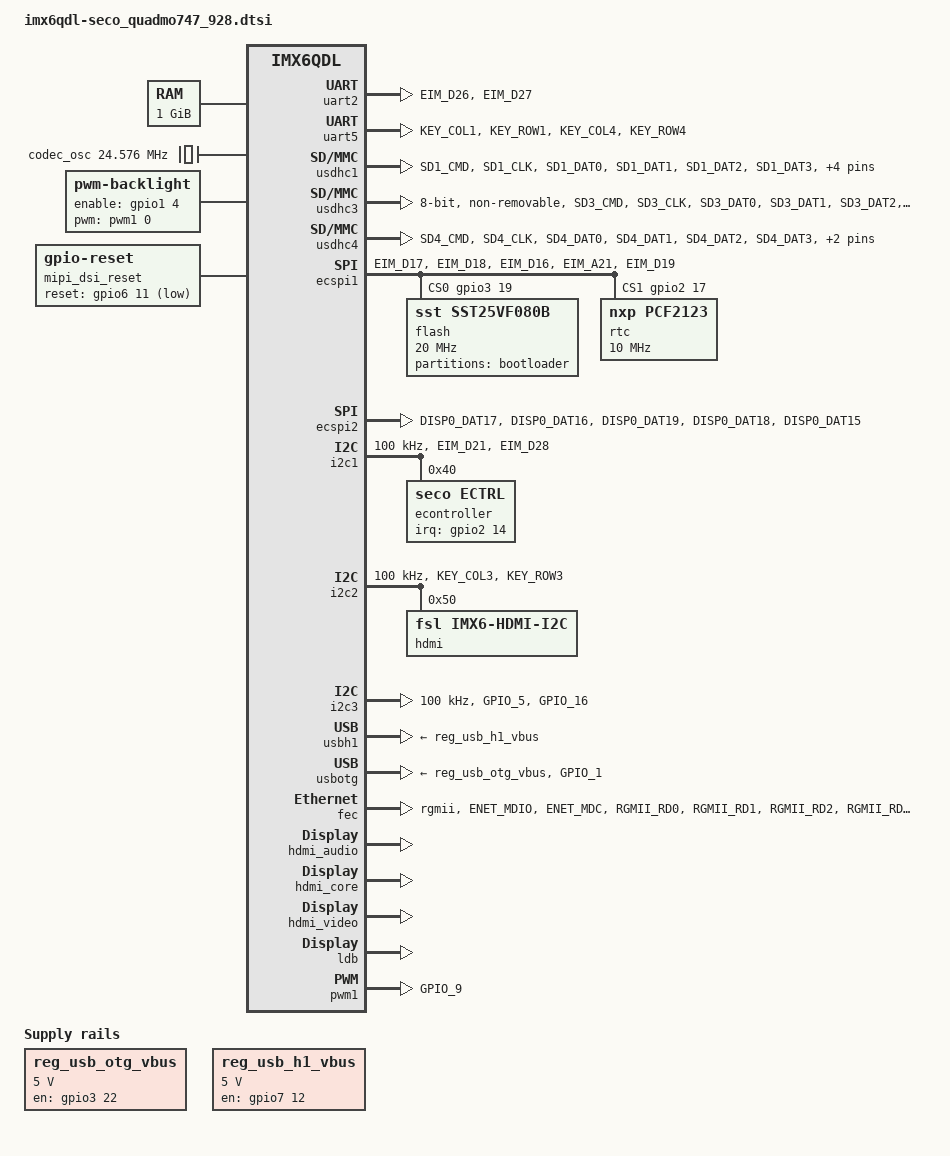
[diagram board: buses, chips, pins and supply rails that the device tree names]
/*
 * Copyright 2012 Freescale Semiconductor, Inc.
 * Copyright 2011 Linaro Ltd.
 *
 * The code contained herein is licensed under the GNU General Public
 * License. You may obtain a copy of the GNU General Public License
 * Version 2 or later at the following locations:
 *
 * http://www.opensource.org/licenses/gpl-license.html
 * http://www.gnu.org/copyleft/gpl.html
 */

#include <dt-bindings/input/input.h>
#include <dt-bindings/seco/ectrl.h>

/ {
	aliases {
		mxcfb0 = &mxcfb1;
		mxcfb1 = &mxcfb2;
		mxcfb2 = &mxcfb3;
		mxcfb3 = &mxcfb4;
	};

	memory {
		reg = <0x10000000 0x40000000>;
	};

	dynamic_choice: dynamic_choice {};

	serial_switch: serial_switch {
		selector = <&gpio3 20 0>;
	};

	clocks {
		codec_osc: anaclk2 {
			compatible = "fixed-clock";
			#clock-cells = <0>;
			clock-frequency = <24576000>;
		};
	};

	regulators {
		compatible = "simple-bus";
		#address-cells = <1>;
		#size-cells = <0>;

		reg_usb_otg_vbus: regulator@0 {
			compatible = "regulator-fixed";
			reg = <0>;
			regulator-name = "usb_otg_vbus";
			regulator-min-microvolt = <5000000>;
			regulator-max-microvolt = <5000000>;
			gpio = <&gpio3 22 0>;
			enable-active-high;
		};

		reg_usb_h1_vbus: regulator@1 {
			compatible = "regulator-fixed";
			reg = <1>;
			regulator-name = "usb_h1_vbus";
			regulator-min-microvolt = <5000000>;
			regulator-max-microvolt = <5000000>;
			gpio = <&gpio7 12 0>;
			enable-active-high;
		};

		reg_2p5v_sgtl5000: regulator@2 {
			compatible = "regulator-fixed";
			reg = <2>;
			regulator-name = "2P5V_sgtl5000";
			regulator-min-microvolt = <2500000>;
			regulator-max-microvolt = <2500000>;
			regulator-always-on;
			status = "disabled";
		};

		reg_3p3v_sgtl5000: regulator@3 {
			compatible = "regulator-fixed";
			reg = <3>;
			regulator-name = "3P3V_sgtl5000";
			regulator-min-microvolt = <3300000>;
			regulator-max-microvolt = <3300000>;
			regulator-always-on;
			status = "disabled";
		};

	};



/*  __________________________________________________________________________
 * |____________________________ AUDIO VT1613 ________________________________|
 */
    codec_vt1613: codec_vt1613 {
		compatible = "via,vt1613";
		status = "disabled";
	};

	sound_vt1613: sound_vt1613 {
		compatible = "fsl,imx-vt1613-audio";
		model = "fsl,imx-vt1613-audio";
		ssi-controller = <&ssi1>;
		audio-codec = <&codec_vt1613>;
		mux-int-port = <1>;
		mux-ext-port = <6>;
		status = "disabled";
	};

	ssi_vt1613: ssi_vt1613 {
		fsl,mode = "ac97-slave";
		pinctrl-names = "default", "ac97-running", "ac97-reset", "ac97-warm-reset";
		pinctrl-0 = <&ac97link_running>;
		pinctrl-1 = <&ac97link_running>;
		pinctrl-2 = <&ac97link_reset>;
		pinctrl-3 = <&ac97link_warm_reset>;
		/* sync, sdata (output), reset */
		ac97-gpios = <&gpio4 19 0 &gpio4 18 0 &gpio4 23 0>;
	};


/*  __________________________________________________________________________
 * |___________________________ AUDIO SGTL5000 _______________________________|
 */
	sound_sgtl5000: sound_sgtl5000 {
		compatible = "fsl,imx6q-seco-sgtl5000",
					"fsl,imx-audio-sgtl5000";
		model = "fsl,imx6q-seco-sgtl5000";
		cpu-dai = <&ssi1>;
		audio-codec = <&codec_sgtl5000>;
		audio-routing =
			"MIC_IN", "Mic Jack",
			"Mic Jack", "Mic Bias",
			"Headphone Jack", "HP_OUT";
		mux-int-port = <1>;
		mux-ext-port = <6>;
		status = "disabled";
	};

	ssi_sgtl5000: ssi_sgtl5000 {
		fsl,mode = "i2s-slave";
	};

	audmux_sgtl5000: audmux_sgtl5000 {
		pinctrl-names = "default";
		pinctrl-0 = <&pinctrl_audmux>;
	};
/*  __________________________________________________________________________
 * |__________________________________________________________________________|
 */

	sound-hdmi {
		compatible = "fsl,imx6q-audio-hdmi",
			     "fsl,imx-audio-hdmi";
		model = "imx-audio-hdmi";
		hdmi-controller = <&hdmi_audio>;
	};

/*  __________________________________________________________________________
 * |____________________________ FRAME BUFFER ________________________________|
 */
	mxcfb1: fb@0 {
		compatible = "fsl,mxc_sdc_fb";
		disp_dev = "ldb";
		interface_pix_fmt = "RGB666";
		mode_str = "LDB-WVGA";
		default_bpp = <16>;
		int_clk = <0>;
		late_init = <0>;
		status = "disabled";
	};

	mxcfb2: fb@1 {
		compatible = "fsl,mxc_sdc_fb";
		disp_dev = "hdmi";
		interface_pix_fmt = "RGB24";
		mode_str ="1920x1080M@60";
		default_bpp = <24>;
		int_clk = <0>;
		late_init = <0>;
		status = "disabled";
	};

	mxcfb3: fb@2 {
		compatible = "fsl,mxc_sdc_fb";
		disp_dev = "lcd";
		interface_pix_fmt = "RGB565";
		mode_str ="CLAA-WVGA";
		default_bpp = <16>;
		int_clk = <0>;
		late_init = <0>;
		status = "disabled";
	};

	mxcfb4: fb@3 {
		compatible = "fsl,mxc_sdc_fb";
		disp_dev = "ldb";
		interface_pix_fmt = "RGB666";
		default_bpp = <16>;
		int_clk = <0>;
		late_init = <0>;
		status = "disabled";
	};

#include <dt-bindings/pwm/pwm.h>
	backlight {
		compatible = "pwm-backlight";
		pwms = <&pwm1 0 5000000>;
		brightness-levels = <0 4 8 16 32 64 128 255>;
		default-brightness-level = <7>;
		enable-gpios = <&gpio1 4 0>; 
		status = "okay";
	};

	v4l2_cap_0 {
		compatible = "fsl,imx6q-v4l2-capture";
		ipu_id = <0>;
		csi_id = <0>;
		mclk_source = <0>;
		status = "okay";
	};

	v4l2_cap_1 {
		compatible = "fsl,imx6q-v4l2-capture";
		ipu_id = <0>;
		csi_id = <1>;
		mclk_source = <0>;
		status = "okay";
	};

	v4l2_out {
		compatible = "fsl,mxc_v4l2_output";
		status = "okay";
	};

	mipi_dsi_reset: mipi-dsi-reset {
		compatible = "gpio-reset";
		reset-gpios = <&gpio6 11 GPIO_ACTIVE_LOW>;
		reset-delay-us = <50>;
		#reset-cells = <0>;
	};
};

&clks {
	assigned-clocks = <&clks IMX6QDL_PLL4_BYPASS_SRC>,
			  <&clks IMX6QDL_PLL4_BYPASS>,
			  <&clks IMX6QDL_CLK_PLL4_POST_DIV>;
	assigned-clock-parents = <&clks IMX6QDL_CLK_LVDS2_IN>,
				<&clks IMX6QDL_PLL4_BYPASS_SRC>;
	assigned-clock-rates = <0>, <0>, <24576000>;
};



/*  __________________________________________________________________________
 * |                                                                          |
 * |                                    IOMUX                                 |
 * |__________________________________________________________________________|
 */
&iomuxc {
	pinctrl-names = "default";
	pinctrl-0 = <&pinctrl_hog>;

	imx6qdl-quadmo747_928 {

		pinctrl_hog: hoggrp {
			fsl,pins = <
				/*  LVDS  */
				MX6QDL_PAD_GPIO_4__GPIO1_IO04           0x1f071
				MX6QDL_PAD_GPIO_2__GPIO1_IO02           0x1f071
				/*  USB  */
				MX6QDL_PAD_EIM_D22__GPIO3_IO22          0x1f071
				MX6QDL_PAD_GPIO_17__GPIO7_IO12          0x1f071
				/*  ECTRL INTERRUPT  */
				MX6QDL_PAD_SD4_DAT6__GPIO2_IO14         0x1f071
				/*  CAN SELECTOR  */
				MX6QDL_PAD_EIM_D20__GPIO3_IO20          0x1f071

			>;
		};


/*  __________________________________________________________________________
 * |________________________________ UART ____________________________________|
 */
		pinctrl_uart2: uart2grp {
			fsl,pins = <
				MX6QDL_PAD_EIM_D26__UART2_TX_DATA            0x1b0b1
				MX6QDL_PAD_EIM_D27__UART2_RX_DATA            0x1b0b1
			>;
		};

		pinctrl_uart4: uart4grp {
			fsl,pins = <
				MX6QDL_PAD_KEY_COL0__UART4_TX_DATA           0x1b0b1
				MX6QDL_PAD_KEY_ROW0__UART4_RX_DATA           0x1b0b1
			>;
		};

		pinctrl_uart5: uart5grp {
			fsl,pins = <
				MX6QDL_PAD_KEY_COL1__UART5_TX_DATA           0x1b0b1
				MX6QDL_PAD_KEY_ROW1__UART5_RX_DATA           0x1b0b1
				MX6QDL_PAD_KEY_COL4__UART5_RTS_B             0x1b0b1
				MX6QDL_PAD_KEY_ROW4__UART5_CTS_B             0x1b0b1

			>;
		};

/*  __________________________________________________________________________
 * |_________________________________ CAN ____________________________________|
 */
		pinctrl_flexcan1: flexcan1grp {
			fsl,pins = <
				MX6QDL_PAD_KEY_ROW2__FLEXCAN1_RX             0x80000000
				MX6QDL_PAD_KEY_COL2__FLEXCAN1_TX             0x80000000
			>;
		};

/*  __________________________________________________________________________
 * |_________________________________ I2C ____________________________________|
 */
		pinctrl_i2c1: i2c1grp {
			fsl,pins = <
				MX6QDL_PAD_EIM_D21__I2C1_SCL                 0x4001b8b1
				MX6QDL_PAD_EIM_D28__I2C1_SDA                 0x4001b8b1
			>;
		};

		pinctrl_i2c2: i2c2grp {
			fsl,pins = <
				MX6QDL_PAD_KEY_COL3__I2C2_SCL                0x4001b8b1
				MX6QDL_PAD_KEY_ROW3__I2C2_SDA                0x4001b8b1
			 >;
		};

		pinctrl_i2c3: i2c3grp {
			fsl,pins = <
				MX6QDL_PAD_GPIO_5__I2C3_SCL                  0x4001b8b1
				MX6QDL_PAD_GPIO_16__I2C3_SDA                 0x4001b8b1
			>;
		};
/*  __________________________________________________________________________
 * |_________________________________ SPI ____________________________________|
 */
		pinctrl_ecspi1: ecspi1grp {
			fsl,pins = <
				MX6QDL_PAD_EIM_D17__ECSPI1_MISO              0x100b1
				MX6QDL_PAD_EIM_D18__ECSPI1_MOSI              0x100b1
				MX6QDL_PAD_EIM_D16__ECSPI1_SCLK              0x100b1
				/*  CS SPI 1  */
				MX6QDL_PAD_EIM_A21__GPIO2_IO17               0x80000000
				MX6QDL_PAD_EIM_D19__GPIO3_IO19               0x80000000

			>;
		};

		pinctrl_ecspi2: ecspi2grp {
			fsl,pins = <
				MX6QDL_PAD_DISP0_DAT17__ECSPI2_MISO          0x100b1
				MX6QDL_PAD_DISP0_DAT16__ECSPI2_MOSI          0x100b1
				MX6QDL_PAD_DISP0_DAT19__ECSPI2_SCLK          0x100b1
				/*  CS SPI 2  */
				MX6QDL_PAD_DISP0_DAT18__GPIO5_IO12           0x80000000
				MX6QDL_PAD_DISP0_DAT15__GPIO5_IO09           0x80000000

			>;
		};


/*  __________________________________________________________________________
 * |________________________________ USDHC ___________________________________|
 */
		pinctrl_usdhc1: usdhc1grp {
			fsl,pins = <
				MX6QDL_PAD_SD1_CMD__SD1_CMD                  0x17059
				MX6QDL_PAD_SD1_CLK__SD1_CLK                  0x10059
				MX6QDL_PAD_SD1_DAT0__SD1_DATA0               0x17059
				MX6QDL_PAD_SD1_DAT1__SD1_DATA1               0x17059
				MX6QDL_PAD_SD1_DAT2__SD1_DATA2               0x17059
				MX6QDL_PAD_SD1_DAT3__SD1_DATA3               0x17059
				MX6QDL_PAD_NANDF_CS2__GPIO6_IO15             0x17059
				MX6QDL_PAD_CSI0_DATA_EN__GPIO5_IO20          0x17059
			>;
		};

		pinctrl_usdhc3: usdhc3grp {
			fsl,pins = <
				MX6QDL_PAD_SD3_CMD__SD3_CMD                  0x17059
				MX6QDL_PAD_SD3_CLK__SD3_CLK                  0x10059
				MX6QDL_PAD_SD3_DAT0__SD3_DATA0               0x17059
				MX6QDL_PAD_SD3_DAT1__SD3_DATA1               0x17059
				MX6QDL_PAD_SD3_DAT2__SD3_DATA2               0x17059
				MX6QDL_PAD_SD3_DAT3__SD3_DATA3               0x17059
				MX6QDL_PAD_SD3_DAT4__SD3_DATA4               0x17059
				MX6QDL_PAD_SD3_DAT5__SD3_DATA5               0x17059
				MX6QDL_PAD_SD3_DAT6__SD3_DATA6               0x17059
				MX6QDL_PAD_SD3_DAT7__SD3_DATA7               0x17059
				MX6QDL_PAD_NANDF_D6__GPIO2_IO06              0x1f071
				MX6QDL_PAD_NANDF_D7__GPIO2_IO07              0x1f071
			>;
		};

		pinctrl_usdhc4: usdhc4grp {
			fsl,pins = <
				MX6QDL_PAD_SD4_CMD__SD4_CMD                  0x17059
				MX6QDL_PAD_SD4_CLK__SD4_CLK                  0x10059
				MX6QDL_PAD_SD4_DAT0__SD4_DATA0               0x17059
				MX6QDL_PAD_SD4_DAT1__SD4_DATA1               0x17059
				MX6QDL_PAD_SD4_DAT2__SD4_DATA2               0x17059
				MX6QDL_PAD_SD4_DAT3__SD4_DATA3               0x17059
			>;
		};


/*  __________________________________________________________________________
 * |______________________________ ETHERNET __________________________________|
 */
		pinctrl_enet: enetgrp {
			fsl,pins = <
				MX6QDL_PAD_ENET_MDIO__ENET_MDIO              0x1b0b0
				MX6QDL_PAD_ENET_MDC__ENET_MDC                0x1b0b0
				MX6QDL_PAD_RGMII_RD0__RGMII_RD0              0x1b0b0
				MX6QDL_PAD_RGMII_RD1__RGMII_RD1              0x1b0b0
				MX6QDL_PAD_RGMII_RD2__RGMII_RD2              0x1b0b0
				MX6QDL_PAD_RGMII_RD3__RGMII_RD3              0x1b0b0
				MX6QDL_PAD_RGMII_RX_CTL__RGMII_RX_CTL        0x1b0b0
				MX6QDL_PAD_RGMII_TD0__RGMII_TD0              0x1b0b0
				MX6QDL_PAD_RGMII_TD1__RGMII_TD1              0x1b0b0
				MX6QDL_PAD_RGMII_TD2__RGMII_TD2              0x1b0b0
				MX6QDL_PAD_RGMII_TD3__RGMII_TD3              0x1b0b0
				MX6QDL_PAD_RGMII_TX_CTL__RGMII_TX_CTL        0x1b0b0
				MX6QDL_PAD_RGMII_RXC__RGMII_RXC              0x1b0b0
				MX6QDL_PAD_RGMII_TXC__RGMII_TXC              0x1b0b0
				MX6QDL_PAD_ENET_REF_CLK__ENET_TX_CLK         0x1b0b0

				/*  Phy Interrupt  */
				MX6QDL_PAD_ENET_TX_EN__GPIO1_IO28            0x1f071
				/*  ENET RESET */
				MX6QDL_PAD_EIM_D23__GPIO3_IO23               0x1f071
			>;
		};


		pinctrl_pwm1: pwm1grp {
			fsl,pins = <
				MX6QDL_PAD_GPIO_9__PWM1_OUT                  0x1b0b1
			>;
		};

		pinctrl_usbotg: usbotggrp {
			fsl,pins = <
				MX6QDL_PAD_GPIO_1__USB_OTG_ID                0x17059
			>;
		};


/*  __________________________________________________________________________
 * |_____________________________ AUDIO AC97 _________________________________|
 */
		ac97link_running: ac97link_runninggrp {
			fsl,pins = <
				MX6QDL_PAD_DI0_PIN2__AUD6_TXD                0x130b0
				MX6QDL_PAD_DI0_PIN3__AUD6_TXFS               0x130b0
				MX6QDL_PAD_DI0_PIN4__AUD6_RXD                0x130b0
				MX6QDL_PAD_DI0_PIN15__AUD6_TXC               0x130b0
			>;
		};

		ac97link_reset: ac97link_resetgrp {
			fsl,pins = <
				/*  AUD_SYNC  */
				MX6QDL_PAD_DI0_PIN3__GPIO4_IO19              0x1f071
				/*  AUD_SDO  */
				MX6QDL_PAD_DI0_PIN2__GPIO4_IO18              0x1f071
				/*  RESET  */
				MX6QDL_PAD_DISP0_DAT2__GPIO4_IO23            0x1f071
			>;
		};

		ac97link_warm_reset: ac97link_warm_resetgrp {
			fsl,pins = <
				MX6QDL_PAD_DI0_PIN3__GPIO4_IO19              0x80000000
			>;
		};

		pinctrl_audmux: audmuxgrp {
			fsl,pins = <
				MX6QDL_PAD_DI0_PIN2__AUD6_TXD                0x130b0
				MX6QDL_PAD_DI0_PIN3__AUD6_TXFS               0x130b0
				MX6QDL_PAD_DI0_PIN4__AUD6_RXD                0x130b0
				MX6QDL_PAD_DI0_PIN15__AUD6_TXC               0x130b0
				MX6QDL_PAD_DISP0_DAT2__GPIO4_IO23            0x1f071
			>;
		};

	};
};

/*  __________________________________________________________________________
 * |__________________________________________________________________________|
 */




/*  __________________________________________________________________________
 * |                                                                          |
 * |                                    UART                                  |
 * |__________________________________________________________________________|
 */
&uart2 {
	pinctrl-names = "default";
	pinctrl-0 = <&pinctrl_uart2>;
	status = "okay";
};


&uart4 {
	pinctrl-names = "default";
	pinctrl-0 = <&pinctrl_uart4>;
	status = "disable";
};


&uart5 {
	pinctrl-names = "default";
	pinctrl-0 = <&pinctrl_uart5>;
	status = "okay";
};
/*  __________________________________________________________________________
 * |__________________________________________________________________________|
 */


/*  __________________________________________________________________________
 * |                                                                          |
 * |                                     CAN                                  |
 * |__________________________________________________________________________|
 */
&flexcan1 {
	pinctrl-names = "default";
	pinctrl-0 = <&pinctrl_flexcan1>;
	status = "disable";
};
/*  __________________________________________________________________________
 * |__________________________________________________________________________|
 */


/*  __________________________________________________________________________
 * |                                                                          |
 * |                                   USDHC                                  |
 * |__________________________________________________________________________|
 */
 &usdhc1 {
        pinctrl-names = "default";
        pinctrl-0 = <&pinctrl_usdhc1>;
        cd-gpios = <&gpio6 15 0>;
        wp-gpios = <&gpio5 20 0>;
        keep-power-in-suspend;
        enable-sdio-wakeup;
        no-1-8-v;
        status = "okay";
};

&usdhc3 {
        pinctrl-names = "default";
        pinctrl-0 = <&pinctrl_usdhc3>;
        bus-width = <8>;
        no-1-8-v;
        non-removable;
        keep-power-in-suspend;
        status = "okay";
};

&usdhc4 {
        pinctrl-names = "default";
        pinctrl-0 = <&pinctrl_usdhc4>;
        cd-gpios = <&gpio2 6 0>;
        wp-gpios = <&gpio2 7 0>;
        keep-power-in-suspend;
        enable-sdio-wakeup;
        no-1-8-v;
        status = "okay";
};
/*  __________________________________________________________________________
 * |__________________________________________________________________________|
 */


/*  __________________________________________________________________________
 * |                                                                          |
 * |                            SPI INTERFACE/DEVICE                          |
 * |__________________________________________________________________________|
 */
&ecspi1 {
	fsl,spi-num-chipselects = <2>;
	cs-gpios = <&gpio3 19 0>, <&gpio2 17 0>;
	pinctrl-names = "default";
	pinctrl-0 = <&pinctrl_ecspi1>;
	status = "okay";


	flash: m25p80@0 {
	
		#address-cells = <1>;
		#size-cells = <0>;
 
		compatible = "sst,sst25vf080b";
		spi-max-frequency = <20000000>;
		reg = <0>;

		partition@0 {
			label = "bootloader";
			reg = <0x00000000 0x00004000>;
		};
       };


	rtc: pcf2123@1 {
	
		compatible = "nxp,pcf2123";
		spi-max-frequency = <10000000>;
		spi-cs-high;
		reg = <1>; 
       };
};


&ecspi2 {
	fsl,spi-num-chipselects = <2>;
	cs-gpios = <&gpio5 12  0>, <&gpio5 9 0>;
	pinctrl-names = "default";
	pinctrl-0 = <&pinctrl_ecspi2>;
	status = "okay";

};
/*  __________________________________________________________________________
 * |__________________________________________________________________________|
 */


/*  __________________________________________________________________________
 * |                                                                          |
 * |                            I2C INTERFACE/DEVICE                          |
 * |__________________________________________________________________________|
 */

&i2c1 {
	clock-frequency = <100000>;
	pinctrl-names = "default";
	pinctrl-0 = <&pinctrl_i2c1>;
	status = "okay";

	econtroller: ectrl@40 {
		compatible = "seco,ectrl";
		reg = <0x40>;
		
		interrupt-parent = <&gpio2>;
		interrupts = <14 2>;

		events = <ECTRL_EVNT_PWR_BTN  ECTRL_EVNT_RST_BTN  
				ECTRL_EVNT_SLEEP  ECTRL_EVNT_BATTERY  
				ECTRL_EVNT_LID  ECTRL_EVNT_WAKE
			>;

		boot_device {

			bootdev@0 {
				id    = <ECTRL_BOOTDEV_USDHC4>;
				label = "internal uSD";
			};
			
			bootdev@1 {
				id    = <ECTRL_BOOTDEV_USDHC1>;
				label = "external SD";
			};
			
			bootdev@2 {
				id = <ECTRL_BOOTDEV_EMMC>;
				label = "on board eMMC";
			};
		
			bootdev@3 {
				id    = <ECTRL_BOOTDEV_SPI>;
				label = "on board SPI flash";
			};

		};

	};
};


&i2c2 {
	clock-frequency = <100000>;
	pinctrl-names = "default";
	pinctrl-0 = <&pinctrl_i2c2>;
	status = "okay";
	
	hdmi: edid@50 {
		compatible = "fsl,imx6-hdmi-i2c";
		reg = <0x50>;
	};
};


&i2c3 {
	clock-frequency = <100000>;
	pinctrl-names = "default";
	pinctrl-0 = <&pinctrl_i2c3>;
	status = "okay";

	codec_sgtl5000: sgtl5000@0a {
		compatible = "fsl,sgtl5000";
		reg = <0x0a>;
		clocks = <&clks IMX6QDL_CLK_CKO>;
		VDDA-supply = <&reg_2p5v_sgtl5000>;
		VDDIO-supply = <&reg_3p3v_sgtl5000>;
		status = "disabled";
	};

};
/*  __________________________________________________________________________
 * |__________________________________________________________________________|
 */


/*  __________________________________________________________________________
 * |                                                                          |
 * |                                     USB                                  |
 * |__________________________________________________________________________|
 */
&usbh1 {
	vbus-supply = <&reg_usb_h1_vbus>;
	status = "okay";
};


&usbotg {
	vbus-supply = <&reg_usb_otg_vbus>;
	pinctrl-names = "default";
	pinctrl-0 = <&pinctrl_usbotg>;
	disable-over-current;
	status = "okay";
};
/*  __________________________________________________________________________
 * |__________________________________________________________________________|
 */


/*  __________________________________________________________________________
 * |                                                                          |
 * |                                  ETHERNET                                |
 * |__________________________________________________________________________|
 */
&fec {
	pinctrl-names = "default";
	pinctrl-0 = <&pinctrl_enet>;
	phy-mode = "rgmii";
	phy-reset-gpios = <&gpio3 23 0>;
	phy-reset-duration = <10>;
	fsl,magic-packet;
	status = "okay";
};
/*  __________________________________________________________________________
 * |__________________________________________________________________________|
 */


/*  __________________________________________________________________________
 * |                                                                          |
 * |                                 VIDEO OUTPUT                             |
 * |__________________________________________________________________________|
 */
&hdmi_audio {
	status = "okay";
};


&hdmi_core {
	ipu_id = <0>;
	disp_id = <0>;
	status = "okay";
};


&hdmi_video {
	fsl,phy_reg_vlev = <0x0294>;
	fsl,phy_reg_cksymtx = <0x800d>;
	status = "okay";
};


&ldb {
	status = "okay";

	lvds-channel@0 {
		reg = <0>;
		fsl,data-mapping = "spwg";
		fsl,data-width = <18>;
		status = "okay";
		primary;

		display-timings {
			native-mode = <&timing0>;

			timing0: LDB-WVGA {
				clock-frequency = <38000000>;
				hactive = <800>;
				vactive = <480>;
				hback-porch = <56>;
				hfront-porch = <50>;
				vback-porch = <20>;
				vfront-porch = <53>;
				hsync-len = <180>;
				vsync-len = <30>;
			};

			timing1: LDB-SVGA {
				clock-frequency = <40000000>;
				hactive = <800>;
				vactive = <600>;
				hback-porch = <40>;
				hfront-porch = <60>;
				vback-porch = <10>;
				vfront-porch = <10>;
				hsync-len = <20>;
				vsync-len = <10>;
			};

			timing2: LDB-WXGA {
				clock-frequency = <72000000>;
				hactive = <1368>;
				vactive = <768>;
				hback-porch = <93>;
				hfront-porch = <33>;
				vback-porch = <22>;
				vfront-porch = <7>;
				hsync-len = <40>;
				vsync-len = <4>;
			};

			timing3: LDB-XGA {
				clock-frequency = <65000000>;
				hactive = <1024>;
				vactive = <768>;
				hback-porch = <1230>;
				hfront-porch = <40>;
				vback-porch = <21>;
				vfront-porch = <7>;
				hsync-len = <60>;
				vsync-len = <10>;
			};

			timing4: LDB-SXGA {
				clock-frequency = <54000000>;
				hactive = <1280>;
				vactive = <1024>;
				hback-porch = <220>;
				hfront-porch = <40>;
				vback-porch = <21>;
				vfront-porch = <7>;
				hsync-len = <60>;
				vsync-len = <10>;
			};


			timing5: LDB-1050P60 {
				clock-frequency = <0x68e7780>;
				hactive = <0x690>;
				vactive = <0x41a>;
				hback-porch = <0x28>;
				hfront-porch = <0x50>;
				vback-porch = <0xf>;
				vfront-porch = <0xf>;
				hsync-len = <0x28>;
				vsync-len = <0x5>;
			};

			timing6: LDB-1080P60 {
				clock-frequency = <0x7bfa480>;
				hactive = <0x780>;
				vactive = <0x438>;
				hback-porch = <0x64>;
				hfront-porch = <0x28>;
				vback-porch = <0x1e>;
				vfront-porch = <0x2>;
				hsync-len = <0xa>;
				vsync-len = <0x2>;
			};

		};
	};

	lvds-channel@1 {
		reg = <1>;
		fsl,data-mapping = "spwg";
		fsl,data-width = <18>;
		status = "okay";

		crtc = "ipu2-di1";
		display-timings {
			native-mode = <&timing7>;

			timing7: seco_lvds1 {
				clock-frequency = <38000000>;
				hactive = <800>;
				vactive = <480>;
				hback-porch = <56>;
				hfront-porch = <50>;
				vback-porch = <20>;
				vfront-porch = <23>;
				hsync-len = <150>;
				vsync-len = <60>;
			};
		};
	};

};
/*  __________________________________________________________________________
 * |__________________________________________________________________________|
 */




//&mipi_csi {
//	status = "okay";
//	ipu_id = <0>;
//	csi_id = <1>;
//	v_channel = <0>;
//	lanes = <2>;
//};
//
//&mipi_dsi {
//	dev_id = <0>;
//	disp_id = <1>;
//	lcd_panel = "TRULY-WVGA";
//	disp-power-on-supply = <&reg_mipi_dsi_pwr_on>;
//	resets = <&mipi_dsi_reset>;
//	status = "okay";
//};
//
//&pcie {
//	power-on-gpio = <&gpio3 19 0>;
//	reset-gpio = <&gpio7 12 0>;
//	status = "okay";
//};
//
&pwm1 {
	pinctrl-names = "default";
	pinctrl-0 = <&pinctrl_pwm1>;
	status = "okay";
};



/*  __________________________________________________________________________
 * |                                                                          |
 * |                             DYNAMIC COMPONENTS                           |
 * |__________________________________________________________________________|
 */


&dynamic_choice {

	chip_audio {
		default_mode = <&audio_codec1>;

		audio_codec0: sgtl5000 {
			code_name = "sgtl5000";
			phandle-num-enable = <6>;
			phandle-list-enable = <&sound_sgtl5000>,
								<&codec_sgtl5000>,
								<&reg_2p5v_sgtl5000>,
								<&reg_3p3v_sgtl5000>,
								<&ssi1>,
								<&audmux>;

			phandle-num-set = <2>;
			phandle-list-set = <&ssi1>,
								<&audmux>;
			phandle-list-source = <&ssi_sgtl5000>,
								<&audmux_sgtl5000>;
		};

		audio_codec1: vt1613 {
			code_name = "vt1613";
			phandle-num-enable = <4>;
			phandle-list-enable = <&sound_vt1613>,
								<&codec_vt1613>,
								<&ssi1>,
								<&audmux>;

			phandle-num-set = <1>;
			phandle-list-set = <&ssi1>;
			phandle-list-source = <&ssi_vt1613>;
		};

	};

	serial_device {
		default_mode = <&serial_device1>;

		serial_device0: flexcan {
			code_name = "flexcan";
		phandle-num-enable = <1>;
			phandle-list-enable = <&flexcan1>;

			phandle-num-set = <0>;
		};

		serial_device1: uart {
			code_name = "uart";
			phandle-num-enable = <1>;
			phandle-list-enable = <&uart4>;

			phandle-num-set = <0>;
		};

	};

};
